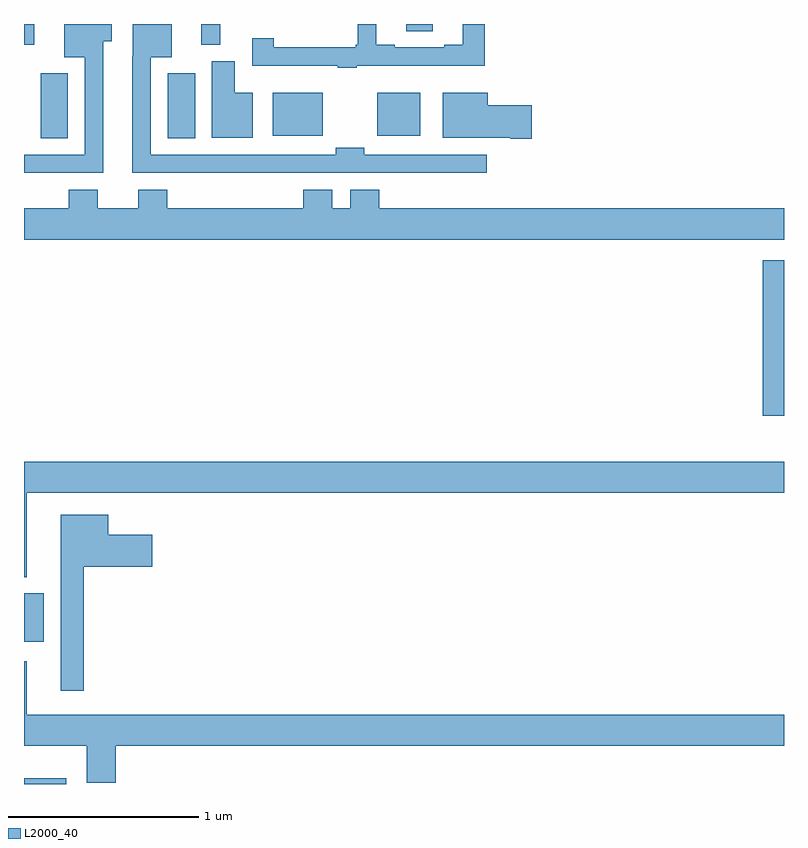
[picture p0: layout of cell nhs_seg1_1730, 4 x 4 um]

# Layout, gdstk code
import gdstk
lib = gdstk.Library(unit=1e-6, precision=1e-09)
def R(c, l, rs):  # rectangles x0, y0, x1, y1
    for r in rs: c.add(gdstk.rectangle(r[:2], r[2:], *l))
def P(c, l, *ps):  # polygons
    for p in ps: c.add(gdstk.Polygon(p, *l))
L2000_40 = (2000, 40)

nhs_seg1_1730 = lib.new_cell('nhs_seg1_1730')
R(nhs_seg1_1730, L2000_40, [(205,550.199,205.222,550.228), (205,550.949,205.105,551.203), (208.888,552.138,209,552.955), (205.088,553.597,205.231,553.939), (205.757,553.597,205.9,553.939), (206.309,553.61,206.572,553.837), (206.858,553.61,207.085,553.837), (205,554.089,205.054,554.199), (205.934,554.089,206.032,554.199), (207.011,554.161,207.151,554.199)])
P(nhs_seg1_1730, L2000_40, [(205.151,553.416),(205.417,553.416),(205.417,554.108),(205.462,554.108),(205.462,554.199),(205.211,554.199),(205.211,554.024),(205.32,554.024),(205.32,553.512),(205,553.512),(205,553.415),(205.151,553.415)],
  [(206.75,553.979),(207.425,553.979),(207.425,554.199),(207.308,554.199),(207.308,554.089),(207.212,554.089),(207.212,554.076),(206.95,554.076),(206.95,554.089),(206.854,554.089),(206.854,554.199),(206.756,554.199),(206.756,554.089),(206.745,554.089),(206.745,554.077),(206.315,554.077),(206.315,554.123),(206.202,554.123),(206.202,553.979),(206.65,553.979),(206.65,553.968),(206.75,553.968)],
  [(206.387,553.416),(206.89,553.416),(206.89,553.415),(207.436,553.415),(207.436,553.512),(206.79,553.512),(206.79,553.548),(206.64,553.548),(206.64,553.512),(205.668,553.512),(205.668,554.024),(205.777,554.024),(205.777,554.199),(205.572,554.199),(205.572,554.028),(205.571,554.028),(205.571,553.416),(205.837,553.416),(205.837,553.415),(206.387,553.415)],
  [(206.203,553.837),(206.11,553.837),(206.11,554.004),(205.988,554.004),(205.988,553.601),(206.203,553.601)],
  [(207.673,553.772),(207.442,553.772),(207.442,553.837),(207.203,553.837),(207.203,553.601),(207.56,553.601),(207.56,553.594),(207.673,553.594)],
  [(206.717,553.327),(206.717,553.228),(206.623,553.228),(206.623,553.327),(206.471,553.327),(206.471,553.228),(205.754,553.228),(205.754,553.327),(205.601,553.327),(205.601,553.228),(205.387,553.228),(205.387,553.327),(205.235,553.327),(205.235,553.228),(205,553.228),(205,553.064),(209,553.064),(209,553.228),(206.87,553.228),(206.87,553.327)],
  [(205.015,551.732),(209,551.732),(209,551.896),(205,551.896),(205,551.288),(205.015,551.288)],
  [(205.315,551.342),(205.675,551.342),(205.675,551.512),(205.444,551.512),(205.444,551.617),(205.193,551.617),(205.193,550.689),(205.315,550.689)],
  [(205.484,550.4),(209,550.4),(209,550.564),(205.015,550.564),(205.015,550.846),(205,550.846),(205,550.4),(205.331,550.4),(205.331,550.206),(205.484,550.206)])

lib.write_gds('nhs_seg1_1730.gds')
